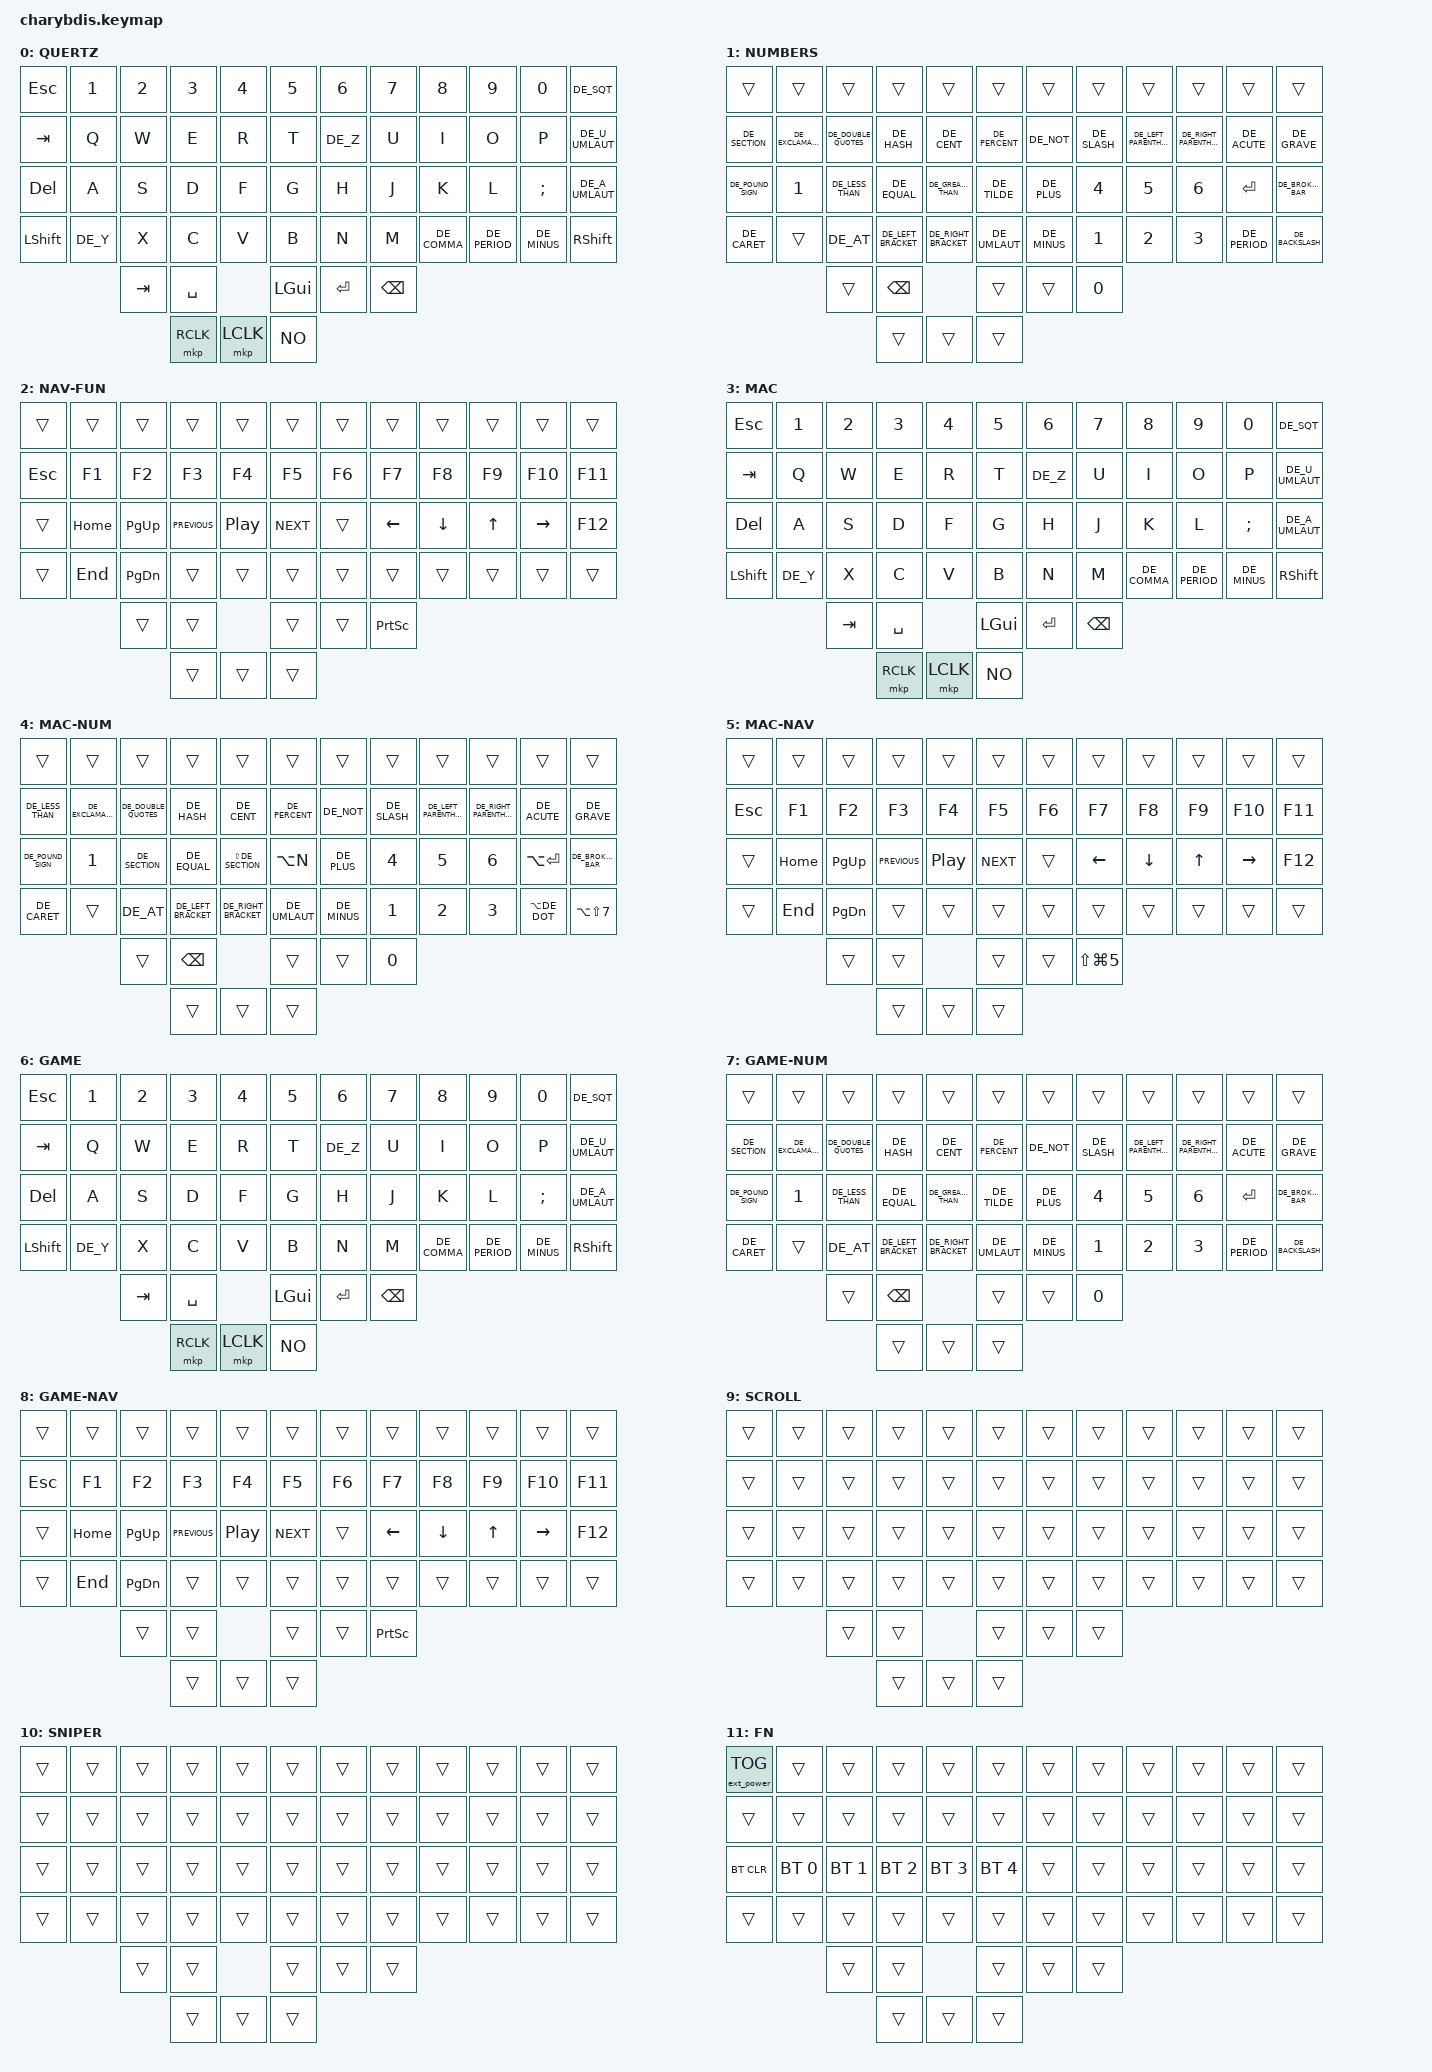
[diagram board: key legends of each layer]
#include "keys_de_swiss.h"
#include <dt-bindings/zmk/mouse.h>
#include <behaviors/mouse_keys.dtsi>
#include <behaviors.dtsi>
#include <dt-bindings/zmk/bt.h>
#include <dt-bindings/zmk/ext_power.h>
#include <dt-bindings/zmk/keys.h>
#include <dt-bindings/zmk/pointing.h>

// / {
//     chosen { zmk,matrix_transform = &default_transform; };
// };

/ {
    /* input config for mouse move mode */
    trackball_listener {
        compatible = "zmk,input-behavior-listener";
        device = <&trackball>;
        layers = <0 3 6>;
        evt-type = <INPUT_EV_REL>;
        x-input-code = <INPUT_REL_X>;
        y-input-code = <INPUT_REL_Y>;
        scale-multiplier = <1>;
        scale-divisor = <2>;
        // bindings = <&ib_toggle_layer 7>;
    };

    /* input config for snipe mode */
    trackball_snipe_listener {
        compatible = "zmk,input-behavior-listener";
        device = <&trackball>;
        layers = <10>;
        evt-type = <INPUT_EV_REL>;
        x-input-code = <INPUT_REL_X>;
        y-input-code = <INPUT_REL_Y>;
        scale-multiplier = <1>;
        scale-divisor = <4>;
    };

    /* input config for mouse scroll mode */
    trackball_scroll_listener {
        compatible = "zmk,input-behavior-listener";
        device = <&trackball>;
        layers = <9>;
        evt-type = <INPUT_EV_REL>;
        x-input-code = <INPUT_REL_MISC>;
        y-input-code = <INPUT_REL_WHEEL>;
        y-invert;
        bindings = <&ib_wheel_scaler 1 14>;
    };

    /* define a resolution down scaler only for INPUT_REL_WHEEL */
    ib_wheel_scaler: ib_wheel_scaler {
        compatible = "zmk,input-behavior-scaler";
        #binding-cells = <2>;
        evt-type = <INPUT_EV_REL>;
        input-code = <INPUT_REL_WHEEL>;
    };

    /* adjust cooldown waiting period for mouse key layer after activated */
    ib_toggle_layer: ib_toggle_layer {
        compatible = "zmk,input-behavior-tog-layer";
        #binding-cells = <1>;
        time-to-live-ms = <750>;
    };

    combos {
        compatible = "zmk,combos";
        to-WIN {
            bindings = <&to 0>;
            key-positions = <50 51>;
            layers = <3 6 11>;
        };
        to-MAC {
            bindings = <&to 3>;
            key-positions = <50 51>;
            layers = <0 6 11>;
        };
        to-GAME {
            bindings = <&to 6>;
            key-positions = <47 36>;
            layers = <0 3 11>;
        };
        to-FN {
            bindings = <&to 11>;
            key-positions = <41 42>;
            layers = <0 3 6>;
        };
        caps_word {
            bindings = <&caps_word>;
            key-positions = <31 28>;
        };
        rh_leftClick {
            bindings = <&mkp LCLK>;
            key-positions = <43 44>;
        };
        rh_rightClick {
            bindings = <&mkp RCLK>;
            key-positions = <44 45>;
        };
        rh_middleClick {
            bindings = <&mkp MCLK>;
            key-positions = <44 45 43>;
        };
        lh_leftClick {
            bindings = <&mkp LCLK>;
            key-positions = <40 39>;
        };
        lh_rightClick {
            bindings = <&mkp RCLK>;
            key-positions = <38 39>;
        };
        lh_middleClick {
            bindings = <&mkp MCLK>;
            key-positions = <38 39 40>;
        };
        CAPZ {
            bindings = <&kp CAPSLOCK>;
            key-positions = <24 25>;
        };
        // New toggle and momentary combos
        toggle_quertz { bindings = <&tog 0>; key-positions = <16 50>; } // LEFT_SHIFT (16) + Blue Dot (50) toggles QUERTZ
        momentary_quertz { bindings = <&mo 0>; key-positions = <50 51>; } // Blue Dot + Green Dot momentary QUERTZ
        toggle_numbers { bindings = <&tog 1>; key-positions = <16 51>; } // LEFT_SHIFT + Green Dot toggles NUMBERS
        momentary_numbers { bindings = <&mo 1>; key-positions = <51 53>; } // Green Dot + Red Dot momentary NUMBERS
        toggle_nav_fun { bindings = <&tog 2>; key-positions = <16 53>; } // LEFT_SHIFT + Red Dot toggles NAV-FUN
        momentary_nav_fun { bindings = <&mo 2>; key-positions = <53 50>; } // Red Dot + Blue Dot momentary NAV-FUN
        toggle_mac { bindings = <&tog 3>; key-positions = <16 52>; } // LEFT_SHIFT + Extra Thumb toggles MAC
        momentary_mac { bindings = <&mo 3>; key-positions = <52 51>; } // Extra Thumb + Green Dot momentary MAC
        toggle_game { bindings = <&tog 6>; key-positions = <16 54>; } // LEFT_SHIFT + Rightmost Thumb toggles GAME
        momentary_game { bindings = <&mo 6>; key-positions = <54 53>; } // Rightmost Thumb + Red Dot momentary GAME
        toggle_fn { bindings = <&tog 11>; key-positions = <16 55>; } // LEFT_SHIFT + Rightmost Thumb + Extra toggles FN
        momentary_fn { bindings = <&mo 11>; key-positions = <55 52>; } // Rightmost Thumb + Extra momentary FN
    };

    behaviors {
        hmr: hmr {
            compatible = "zmk,behavior-hold-tap";
            label = "HMR";
            bindings = <&kp>, <&kp>;
            #binding-cells = <2>;
            tapping-term-ms = <190>;
            quick-tap-ms = <175>;
            flavor = "balanced";
            hold-trigger-key-positions = <0 1 2 3 4 5 12 13 14 15 16 17 24 25 26 27 28 29 36 37 38 39 40 41 48 49 50 53 54 51 52 55>;
            hold-trigger-on-release;
        };
        hml: hml {
            compatible = "zmk,behavior-hold-tap";
            label = "HML";
            bindings = <&kp>, <&kp>;
            #binding-cells = <2>;
            tapping-term-ms = <190>;
            quick-tap-ms = <175>;
            flavor = "balanced";
            hold-trigger-key-positions = <48 49 50 53 54 51 52 55 6 7 8 9 10 11 18 19 20 21 22 23 30 31 32 33 34 35 42 43 44 45 46 47 51 52>;
            hold-trigger-on-release;
        };
    };

    keymap {
        compatible = "zmk,keymap";

        default_win_layer {
            label = "QUERTZ";
            bindings = <
                &kp ESCAPE      &kp N1               &kp N2           &kp N3           &kp N4             &kp N5            &kp N6       &kp N7              &kp N8            &kp N9            &kp N0                          &kp DE_SQT
                &kp TAB         &kp Q                &kp W            &kp E            &kp R              &kp T             &kp DE_Z     &kp U               &kp I             &kp O             &kp P                           &kp DE_U_UMLAUT
                &kp DELETE      &kp A                &kp S            &kp D            &kp F              &kp G             &kp H        &kp J               &kp K             &kp L             &kp SEMICOLON                    &kp DE_A_UMLAUT
                &kp LEFT_SHIFT  &kp DE_Y             &kp X            &kp C            &kp V              &kp B             &kp N        &kp M               &kp DE_COMMA      &kp DE_PERIOD     &kp DE_MINUS                        &kp RSHIFT
                                                           &kp TAB            &kp SPACE          &kp LEFT_GUI      &kp ENTER         &kp BACKSPACE
                                                                            &mkp RCLK          &mkp LCLK         &kp NO
            >;
        };

        win_raise_layer {
            label = "NUMBERS";
            bindings = <
                &trans                        &trans                &trans                      &trans                              &trans                                &trans            &trans               &trans                  &trans                          &trans                           &trans                         &trans
                &kp DE_SECTION                &kp DE_EXCLAMATION    &kp DE_DOUBLE_QUOTES        &kp DE_HASH                        &kp DE_CENT                          &kp DE_PERCENT    &kp DE_NOT           &kp DE_SLASH            &kp DE_LEFT_PARENTHESIS          &kp DE_RIGHT_PARENTHESIS        &kp DE_ACUTE                   &kp DE_GRAVE
                &kp DE_POUND_SIGN             &kp N1                &kp DE_LESS_THAN            &kp DE_EQUAL                       &kp DE_GREATER_THAN                  &kp DE_TILDE      &kp DE_PLUS          &kp N4                   &kp N5                            &kp N6                          &kp ENTER                      &kp DE_BROKEN_BAR
                &kp DE_CARET                  &trans                &kp DE_AT                   &kp DE_LEFT_BRACKET                &kp DE_RIGHT_BRACKET                 &kp DE_UMLAUT     &kp DE_MINUS         &kp N1                   &kp N2                            &kp N3                          &kp DE_PERIOD                  &kp DE_BACKSLASH
                                                                                  &trans                              &kp BACKSPACE                         &trans            &trans               &kp N0
                                                                                                                    &trans                                &trans            &trans
            >;
        };

        win_lower_layer {
            label = "NAV-FUN";
            bindings = <
                &trans      &trans    &trans         &trans          &trans            &trans        &trans  &trans           &trans          &trans        &trans           &trans
                &kp ESCAPE  &kp F1    &kp F2         &kp F3          &kp F4            &kp F5        &kp F6  &kp F7           &kp F8          &kp F9        &kp F10          &kp F11
                &trans      &kp HOME  &kp PAGE_UP    &kp C_PREVIOUS  &kp C_PLAY_PAUSE  &kp C_NEXT    &trans  &kp LEFT_ARROW   &kp DOWN_ARROW  &kp UP_ARROW  &kp RIGHT_ARROW  &kp F12
                &trans      &kp END   &kp PAGE_DOWN  &trans          &trans            &trans        &trans  &trans           &trans          &trans        &trans           &trans
                                                           &trans            &trans            &trans           &trans           &kp PRINTSCREEN
                                                                            &trans            &trans           &trans
            >;
        };

        default_mac_layer {
            label = "MAC";
            bindings = <
                &kp ESCAPE      &kp N1               &kp N2           &kp N3           &kp N4             &kp N5            &kp N6       &kp N7              &kp N8            &kp N9            &kp N0                          &kp DE_SQT
                &kp TAB         &kp Q                &kp W            &kp E            &kp R              &kp T             &kp DE_Z     &kp U               &kp I             &kp O             &kp P                           &kp DE_U_UMLAUT
                &kp DELETE      &kp A                &kp S            &kp D            &kp F              &kp G             &kp H        &kp J               &kp K             &kp L             &kp SEMICOLON                    &kp DE_A_UMLAUT
                &kp LEFT_SHIFT  &kp DE_Y             &kp X            &kp C            &kp V              &kp B             &kp N        &kp M               &kp DE_COMMA      &kp DE_PERIOD     &kp DE_MINUS                        &kp RSHIFT
                                                           &kp TAB            &kp SPACE          &kp LEFT_GUI      &kp ENTER         &kp BACKSPACE
                                                                            &mkp RCLK          &mkp LCLK         &kp NO
            >;
        };

        mac_raise_layer {
            label = "MAC-NUM";
            bindings = <
                &trans                        &trans                &trans                      &trans                              &trans                                &trans            &trans               &trans                  &trans                          &trans                           &trans                         &trans
                &kp DE_LESS_THAN              &kp DE_EXCLAMATION    &kp DE_DOUBLE_QUOTES        &kp DE_HASH                        &kp DE_CENT                          &kp DE_PERCENT    &kp DE_NOT           &kp DE_SLASH            &kp DE_LEFT_PARENTHESIS          &kp DE_RIGHT_PARENTHESIS        &kp DE_ACUTE                   &kp DE_GRAVE
                &kp DE_POUND_SIGN             &kp N1                &kp DE_SECTION              &kp DE_EQUAL                       &kp LS(DE_SECTION)                   &kp LA(N)         &kp DE_PLUS          &kp N4                   &kp N5                            &kp N6                          &kp LA(RETURN)                  &kp DE_BROKEN_BAR
                &kp DE_CARET                  &trans                &kp DE_AT                   &kp DE_LEFT_BRACKET                &kp DE_RIGHT_BRACKET                 &kp DE_UMLAUT     &kp DE_MINUS         &kp N1                   &kp N2                            &kp N3                          &kp LA(DE_DOT)                  &kp LA(LS(NUMBER_7))
                                                                                  &trans                              &kp BACKSPACE                         &trans            &trans               &kp N0
                                                                                                                    &trans                                &trans            &trans
            >;
        };

        mac_lower_layer {
            label = "MAC-NAV";
            bindings = <
                &trans      &trans    &trans         &trans          &trans            &trans        &trans  &trans           &trans          &trans        &trans           &trans
                &kp ESCAPE  &kp F1    &kp F2         &kp F3          &kp F4            &kp F5        &kp F6  &kp F7           &kp F8          &kp F9        &kp F10          &kp F11
                &trans      &kp HOME  &kp PAGE_UP    &kp C_PREVIOUS  &kp C_PLAY_PAUSE  &kp C_NEXT    &trans  &kp LEFT_ARROW   &kp DOWN_ARROW  &kp UP_ARROW  &kp RIGHT_ARROW  &kp F12
                &trans      &kp END   &kp PAGE_DOWN  &trans          &trans            &trans        &trans  &trans           &trans          &trans        &trans           &trans
                                                           &trans            &trans            &trans           &trans           &kp LS(LG(NUMBER_5))
                                                                            &trans            &trans           &trans
            >;
        };

        default_game_layer {
            label = "GAME";
            bindings = <
                &kp ESCAPE      &kp N1               &kp N2           &kp N3           &kp N4             &kp N5            &kp N6       &kp N7              &kp N8            &kp N9            &kp N0                          &kp DE_SQT
                &kp TAB         &kp Q                &kp W            &kp E            &kp R              &kp T             &kp DE_Z     &kp U               &kp I             &kp O             &kp P                           &kp DE_U_UMLAUT
                &kp DELETE      &kp A                &kp S            &kp D            &kp F              &kp G             &kp H        &kp J               &kp K             &kp L             &kp SEMICOLON                    &kp DE_A_UMLAUT
                &kp LEFT_SHIFT  &kp DE_Y             &kp X            &kp C            &kp V              &kp B             &kp N        &kp M               &kp DE_COMMA      &kp DE_PERIOD     &kp DE_MINUS                        &kp RSHIFT
                                                           &kp TAB            &kp SPACE          &kp LEFT_GUI      &kp ENTER         &kp BACKSPACE
                                                                            &mkp RCLK          &mkp LCLK         &kp NO
            >;
        };

        game_raise_layer {
            label = "GAME-NUM";
            bindings = <
                &trans                        &trans                &trans                      &trans                              &trans                                &trans            &trans               &trans                  &trans                          &trans                           &trans                         &trans
                &kp DE_SECTION                &kp DE_EXCLAMATION    &kp DE_DOUBLE_QUOTES        &kp DE_HASH                        &kp DE_CENT                          &kp DE_PERCENT    &kp DE_NOT           &kp DE_SLASH            &kp DE_LEFT_PARENTHESIS          &kp DE_RIGHT_PARENTHESIS        &kp DE_ACUTE                   &kp DE_GRAVE
                &kp DE_POUND_SIGN             &kp N1                &kp DE_LESS_THAN            &kp DE_EQUAL                       &kp DE_GREATER_THAN                  &kp DE_TILDE      &kp DE_PLUS          &kp N4                   &kp N5                            &kp N6                          &kp ENTER                      &kp DE_BROKEN_BAR
                &kp DE_CARET                  &trans                &kp DE_AT                   &kp DE_LEFT_BRACKET                &kp DE_RIGHT_BRACKET                 &kp DE_UMLAUT     &kp DE_MINUS         &kp N1                   &kp N2                            &kp N3                          &kp DE_PERIOD                  &kp DE_BACKSLASH
                                                                                  &trans                              &kp BACKSPACE                         &trans            &trans               &kp N0
                                                                                                                    &trans                                &trans            &trans
            >;
        };

        game_lower_layer {
            label = "GAME-NAV";
            bindings = <
                &trans      &trans    &trans         &trans          &trans            &trans        &trans  &trans           &trans          &trans        &trans           &trans
                &kp ESCAPE  &kp F1    &kp F2         &kp F3          &kp F4            &kp F5        &kp F6  &kp F7           &kp F8          &kp F9        &kp F10          &kp F11
                &trans      &kp HOME  &kp PAGE_UP    &kp C_PREVIOUS  &kp C_PLAY_PAUSE  &kp C_NEXT    &trans  &kp LEFT_ARROW   &kp DOWN_ARROW  &kp UP_ARROW  &kp RIGHT_ARROW  &kp F12
                &trans      &kp END   &kp PAGE_DOWN  &trans          &trans            &trans        &trans  &trans           &trans          &trans        &trans           &trans
                                                           &trans            &trans            &trans           &trans           &kp PRINTSCREEN
                                                                            &trans            &trans           &trans
            >;
        };

        scroll_layer {
            label = "SCROLL";
            bindings = <
                &trans  &trans  &trans  &trans  &trans  &trans    &trans  &trans  &trans  &trans  &trans  &trans
                &trans  &trans  &trans  &trans  &trans  &trans    &trans  &trans  &trans  &trans  &trans  &trans
                &trans  &trans  &trans  &trans  &trans  &trans    &trans  &trans  &trans  &trans  &trans  &trans
                &trans  &trans  &trans  &trans  &trans  &trans    &trans  &trans  &trans  &trans  &trans  &trans
                        &trans  &trans  &trans    &trans  &trans
                                &trans  &trans    &trans
            >;
        };

        sniper_layer {
            label = "SNIPER";
            bindings = <
                &trans  &trans  &trans  &trans  &trans  &trans    &trans  &trans  &trans  &trans  &trans  &trans
                &trans  &trans  &trans  &trans  &trans  &trans    &trans  &trans  &trans  &trans  &trans  &trans
                &trans  &trans  &trans  &trans  &trans  &trans    &trans  &trans  &trans  &trans  &trans  &trans
                &trans  &trans  &trans  &trans  &trans  &trans    &trans  &trans  &trans  &trans  &trans  &trans
                        &trans  &trans  &trans    &trans  &trans
                                &trans  &trans    &trans
            >;
        };

        keeb_pref_layer {
            label = "FN";
            bindings = <
                &ext_power EP_TOG  &trans        &trans        &trans        &trans        &trans          &trans  &trans  &trans  &trans  &trans  &trans
                &trans             &trans        &trans        &trans        &trans        &trans          &trans  &trans  &trans  &trans  &trans  &trans
                &bt BT_CLR         &bt BT_SEL 0  &bt BT_SEL 1  &bt BT_SEL 2  &bt BT_SEL 3  &bt BT_SEL 4    &trans  &trans  &trans  &trans  &trans  &trans
                &trans             &trans        &trans        &trans        &trans        &trans          &trans  &trans  &trans  &trans  &trans  &trans
                                            &trans        &trans        &trans          &trans  &trans
                                                          &trans        &trans          &trans
            >;
        };
    };
};
